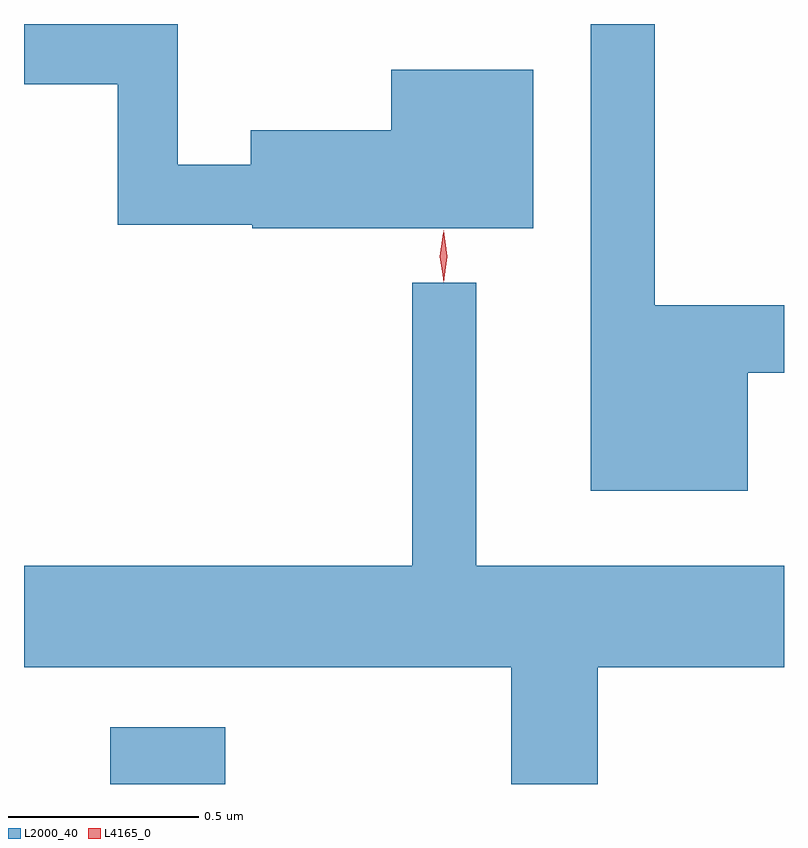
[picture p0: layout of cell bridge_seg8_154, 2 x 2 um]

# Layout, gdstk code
import gdstk
lib = gdstk.Library(unit=1e-6, precision=1e-09)
def R(c, l, rs):  # rectangles x0, y0, x1, y1
    for r in rs: c.add(gdstk.rectangle(r[:2], r[2:], *l))
def P(c, l, *ps):  # polygons
    for p in ps: c.add(gdstk.Polygon(p, *l))
L2000_40 = (2000, 40)
L4165_0 = (4165, 0)

bridge_seg8_154 = lib.new_cell('bridge_seg8_154')
R(bridge_seg8_154, L2000_40, [(1747.836,1820.569,1748.139,1820.719)])
P(bridge_seg8_154, L2000_40, [(1749.514,1821.651),(1749.609,1821.651),(1749.609,1821.829),(1749.269,1821.829),(1749.269,1822.569),(1749.101,1822.569),(1749.101,1821.341),(1749.514,1821.341)],
  [(1748.949,1822.449),(1748.576,1822.449),(1748.576,1822.289),(1748.206,1822.289),(1748.206,1822.199),(1748.014,1822.199),(1748.014,1822.569),(1747.609,1822.569),(1747.609,1822.411),(1747.856,1822.411),(1747.856,1822.041),(1748.21,1822.041),(1748.21,1822.031),(1748.949,1822.031)],
  [(1749.119,1820.876),(1749.609,1820.876),(1749.609,1821.144),(1748.799,1821.144),(1748.799,1821.888),(1748.631,1821.888),(1748.631,1821.144),(1747.609,1821.144),(1747.609,1820.876),(1748.891,1820.876),(1748.891,1820.569),(1749.119,1820.569)])
P(bridge_seg8_154, L4165_0, [(1748.714,1821.893),(1748.713,1821.894),(1748.703,1821.956),(1748.712,1822.02),(1748.713,1822.02),(1748.713,1822.02),(1748.723,1821.957),(1748.714,1821.894)],
  [(1748.713,1821.89),(1748.704,1821.958),(1748.713,1822.025),(1748.713,1822.026),(1748.714,1822.025),(1748.723,1821.958),(1748.714,1821.89),(1748.714,1821.89)])

lib.write_gds('bridge_seg8_154.gds')
